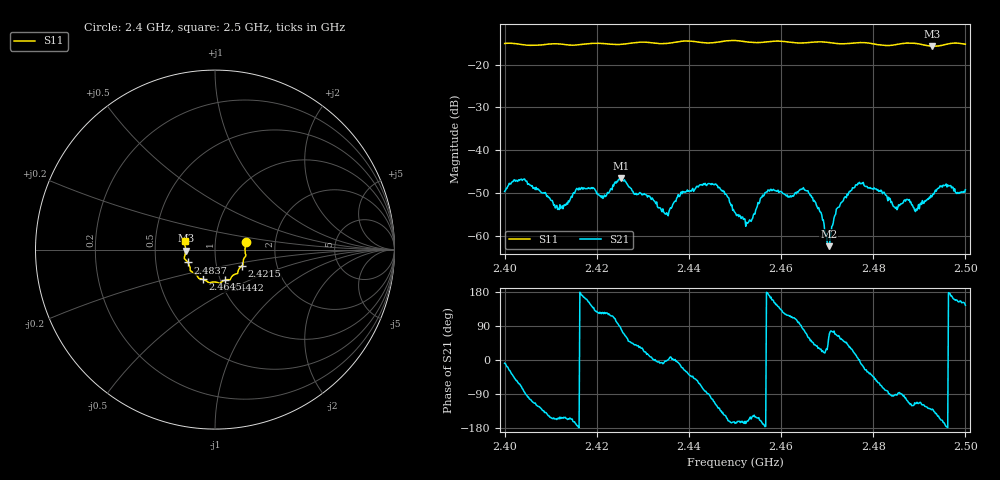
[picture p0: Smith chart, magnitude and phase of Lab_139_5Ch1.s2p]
# Hz S RI R
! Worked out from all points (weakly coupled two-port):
!   601 points, 2.4 GHz to 2.5 GHz, reference 50 ohm
!   highest |S21| = -46.52 dB at 2.4253 GHz (marker M1); lowest = -62.4 dB at 2.4703 GHz (marker M2)
!   lowest |S11| = -15.7 dB at 2.4928 GHz (marker M3), VSWR 1.39, Z = 36 - j0.385 ohm
!   |S11| at or under -10 dB: start of sweep to end of sweep
!   S12 and S22 are empty: the file has one direction only
!   S11 on the Smith chart (normalised r, x): 2.4 GHz: 1.41, +0.12; 2.4215 GHz: 1.33, -0.25; 2.4442 GHz: 1.05, -0.37; 2.4645 GHz: 0.83, -0.29; 2.4837 GHz: 0.73, -0.11; 2.5 GHz: 0.71, +0.07
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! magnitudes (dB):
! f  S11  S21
! 2.4 GHz  -15.1  -49.6
! 2.404 GHz  -15.4  -46.8
! 2.412 GHz  -15.2  -52.7
! 2.4167 GHz  -15.3  -48.7
! 2.4215 GHz  -15.1  -50.9
! 2.4253 GHz  -15.3  -46.5
! 2.4333 GHz  -15.1  -53.4
! 2.4352 GHz  -15.1  -54.6
! 2.4442 GHz  -15.0  -47.8
! 2.45 GHz  -14.4  -54.5
! 2.4528 GHz  -14.7  -56.9
! 2.457 GHz  -14.7  -49.7
! 2.4645 GHz  -15.0  -49.0
! 2.4667 GHz  -14.8  -51.0
! 2.4703 GHz  -14.8  -62.4
! 2.4725 GHz  -15.1  -53.3
! 2.4765 GHz  -14.9  -48.1
! 2.4833 GHz  -15.6  -51.0
! 2.4837 GHz  -15.5  -51.2
! 2.4892 GHz  -15.1  -54.3
! 2.4928 GHz  -15.7  -50.6
! 2.5 GHz  -15.3  -49.2
